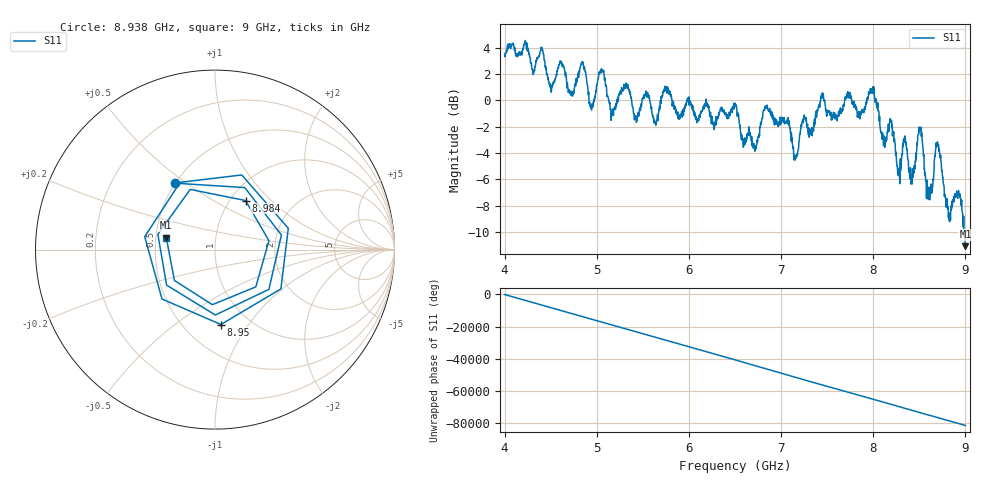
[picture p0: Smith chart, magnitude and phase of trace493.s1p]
! Created with skrf 1.8.0 (http://scikit-rf.org).
# Hz S RI R 50.0
!freq ReS11 ImS11
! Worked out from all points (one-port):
!   1601 points, 4 GHz to 9 GHz, reference 50 ohm
!   lowest |S11| = -11.1 dB at 9 GHz (marker M1), VSWR 1.77, Z = 28.4 + j4.08 ohm
!   |S11| at or under -10 dB: 8.985308 GHz to end of sweep
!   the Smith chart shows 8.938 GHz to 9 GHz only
!   S11 on the Smith chart (normalised r, x): 8.938 GHz: 0.50, +0.45; 8.95 GHz: 0.74, -0.75; 8.984 GHz: 1.17, +0.72; 9 GHz: 0.57, +0.08
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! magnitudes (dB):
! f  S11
! 4 GHz  3.5
! 4.4 GHz  4.0
! 4.506 GHz  0.6
! 4.625 GHz  2.8
! 4.728 GHz  0.4
! 4.853 GHz  2.7
! 4.941 GHz  -0.6
! 5.05 GHz  2.4
! 5.162 GHz  -1.0
! 5.25 GHz  0.6
! 5.875 GHz  -1.1
! 6.5 GHz  -0.4
! 6.6 GHz  -3.4
! 6.85 GHz  -0.4
! 7.125 GHz  -3.4
! 7.75 GHz  0.2
! 7.988 GHz  0.5
! 8.278 GHz  -5.3
! 8.375 GHz  -4.5
! 8.431 GHz  -5.8
! 8.509 GHz  -2.2
! 8.597 GHz  -6.8
! 8.7 GHz  -3.4
! 8.812 GHz  -8.1
! 8.938 GHz  -7.2
! 8.95 GHz  -7.6
! 8.984 GHz  -9.8
! 9 GHz  -11.1
